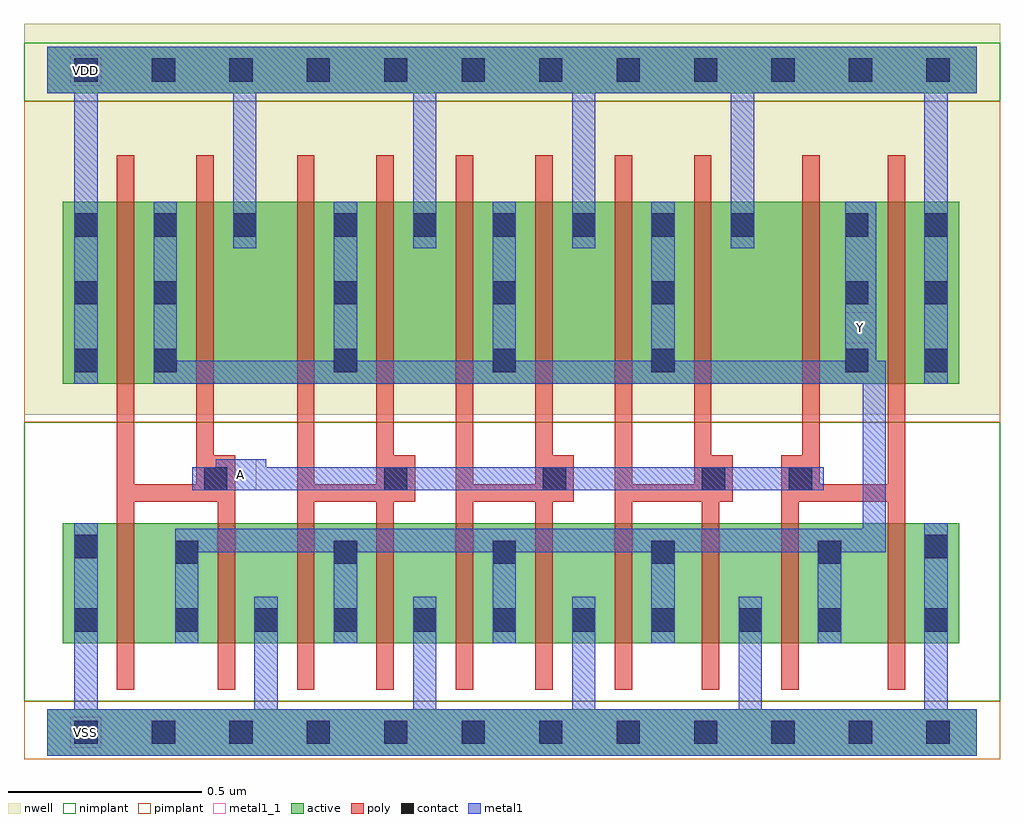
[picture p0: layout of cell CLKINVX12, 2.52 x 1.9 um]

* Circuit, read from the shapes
.subckt CLKINVX12 A VDD VSS Y
M1 Y A VSS VSS nfet w=0.31u l=0.045u m=10
M2 Y A VDD VDD pfet w=0.47u l=0.045u m=10
.ends

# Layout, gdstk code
import gdstk
lib = gdstk.Library(unit=1e-6, precision=5e-10)
def R(c, l, rs):  # rectangles x0, y0, x1, y1
    for r in rs: c.add(gdstk.rectangle(r[:2], r[2:], *l))
def A(c, l, x, y, w, h, nx, ny, dx, dy):  # array of equal rectangles
    R(c, l, [(x+i*dx, y+j*dy, x+i*dx+w, y+j*dy+h) for i in range(nx) for j in range(ny)])
def P(c, l, *ps):  # polygons
    for p in ps: c.add(gdstk.Polygon(p, *l))
active = (1, 0)
nwell = (2, 0)
poly = (3, 0)
nimplant = (4, 0)
pimplant = (5, 0)
contact = (6, 0)
metal1 = (7, 0)
metal1_1 = (7, 1)

clkinvx12 = lib.new_cell('CLKINVX12')
R(clkinvx12, active, [(0,-0.06,2.4,0.06), (0.04,0.23,2.355,0.54), (0.04,0.9,2.355,1.37), (0,1.65,2.4,1.77)])
R(clkinvx12, nwell, [(-0.06,0.82,2.46,1.83)])
P(clkinvx12, poly, [(0.18,1.49),(0.225,1.49),(0.225,0.64),(0.385,0.64),(0.385,1.49),(0.43,1.49),(0.43,0.715),(0.485,0.715),(0.485,0.11),(0.44,0.11),(0.44,0.595),(0.225,0.595),(0.225,0.11),(0.18,0.11)],
  [(0.645,1.49),(0.69,1.49),(0.69,0.64),(0.85,0.64),(0.85,1.49),(0.895,1.49),(0.895,0.715),(0.95,0.715),(0.95,0.595),(0.895,0.595),(0.895,0.11),(0.85,0.11),(0.85,0.595),(0.69,0.595),(0.69,0.11),(0.645,0.11)],
  [(1.055,1.49),(1.1,1.49),(1.1,0.64),(1.26,0.64),(1.26,1.49),(1.305,1.49),(1.305,0.715),(1.36,0.715),(1.36,0.595),(1.305,0.595),(1.305,0.11),(1.26,0.11),(1.26,0.595),(1.1,0.595),(1.1,0.11),(1.055,0.11)],
  [(1.465,1.49),(1.51,1.49),(1.51,0.64),(1.67,0.64),(1.67,1.49),(1.715,1.49),(1.715,0.715),(1.77,0.715),(1.77,0.595),(1.735,0.595),(1.735,0.11),(1.69,0.11),(1.69,0.595),(1.51,0.595),(1.51,0.11),(1.465,0.11)],
  [(1.95,1.49),(1.995,1.49),(1.995,0.64),(2.17,0.64),(2.17,1.49),(2.215,1.49),(2.215,0.11),(2.17,0.11),(2.17,0.595),(1.94,0.595),(1.94,0.11),(1.895,0.11),(1.895,0.715),(1.95,0.715)])
R(clkinvx12, nimplant, [(-0.06,0.08,2.46,0.8), (-0.06,1.63,2.46,1.78)])
R(clkinvx12, pimplant, [(-0.06,-0.07,2.46,0.08), (-0.06,0.8,2.46,1.63)])
A(clkinvx12, contact, 0.07, -0.03, 0.06, 0.06, 12, 2, 0.2, 1.71)
A(clkinvx12, contact, 0.33, 0.26, 0.06, 0.06, 7, 1, 0.205, 0)
A(clkinvx12, contact, 0.33, 0.435, 0.06, 0.06, 4, 1, 0.41, 0)
A(clkinvx12, contact, 0.87, 0.625, 0.06, 0.06, 3, 1, 0.41, 0)
A(clkinvx12, contact, 0.74, 0.93, 0.06, 0.06, 3, 2, 0.41, 0.175)
A(clkinvx12, contact, 2.06, 0.93, 0.06, 0.06, 1, 3, 0, 0.175)
A(clkinvx12, contact, 2.265, 0.93, 0.06, 0.06, 1, 3, 0, 0.175)
A(clkinvx12, contact, 0.07, 1.28, 0.06, 0.06, 3, 1, 0.205, 0)
A(clkinvx12, contact, 0.74, 1.28, 0.06, 0.06, 6, 1, 0.205, 0)
R(clkinvx12, contact, [(0.07,0.26,0.13,0.32), (1.785,0.26,1.845,0.32), (1.99,0.26,2.05,0.32), (2.265,0.26,2.325,0.32), (1.99,0.435,2.05,0.495), (0.07,0.45,0.13,0.51), (2.265,0.45,2.325,0.51), (0.405,0.625,0.465,0.685), (1.915,0.625,1.975,0.685), (0.07,0.93,0.13,0.99), (0.275,0.93,0.335,0.99), (0.07,1.105,0.13,1.165), (0.275,1.105,0.335,1.165)])
P(clkinvx12, metal1, [(0.435,0.705),(0.565,0.705),(0.565,0.685),(2.005,0.685),(2.005,0.625),(0.375,0.625),(0.375,0.685),(0.435,0.685)],
  [(0.07,0.54),(0.13,0.54),(0.13,0.06),(0.535,0.06),(0.535,0.35),(0.595,0.35),(0.595,0.06),(0.945,0.06),(0.945,0.35),(1.005,0.35),(1.005,0.06),(1.355,0.06),(1.355,0.35),(1.415,0.35),(1.415,0.06),(1.785,0.06),(1.785,0.35),(1.845,0.35),(1.845,0.06),(2.265,0.06),(2.265,0.54),(2.325,0.54),(2.325,0.06),(2.4,0.06),(2.4,-0.06),(0,-0.06),(0,0.06),(0.07,0.06)],
  [(0,1.77),(2.4,1.77),(2.4,1.65),(2.325,1.65),(2.325,0.9),(2.265,0.9),(2.265,1.65),(1.825,1.65),(1.825,1.25),(1.765,1.25),(1.765,1.65),(1.415,1.65),(1.415,1.25),(1.355,1.25),(1.355,1.65),(1.005,1.65),(1.005,1.25),(0.945,1.25),(0.945,1.65),(0.54,1.65),(0.54,1.25),(0.48,1.25),(0.48,1.65),(0.13,1.65),(0.13,0.9),(0.07,0.9),(0.07,1.65),(0,1.65)],
  [(0.275,1.37),(0.335,1.37),(0.335,0.96),(0.74,0.96),(0.74,1.37),(0.8,1.37),(0.8,0.96),(1.15,0.96),(1.15,1.37),(1.21,1.37),(1.21,0.96),(1.56,0.96),(1.56,1.37),(1.62,1.37),(1.62,0.96),(2.06,0.96),(2.06,1.37),(2.14,1.37),(2.14,0.96),(2.165,0.96),(2.165,0.465),(2.05,0.465),(2.05,0.23),(1.99,0.23),(1.99,0.465),(1.62,0.465),(1.62,0.23),(1.56,0.23),(1.56,0.465),(1.21,0.465),(1.21,0.23),(1.15,0.23),(1.15,0.465),(0.8,0.465),(0.8,0.23),(0.74,0.23),(0.74,0.465),(0.39,0.465),(0.39,0.23),(0.33,0.23),(0.33,0.525),(2.105,0.525),(2.105,0.9),(0.275,0.9)])
R(clkinvx12, metal1_1, [(0.06,-0.04,0.14,0.04), (0.46,0.625,0.54,0.705), (2.06,1.005,2.14,1.085), (0.06,1.67,0.14,1.75)])
clkinvx12.add(gdstk.Label('Y', (2.1,1.045), layer=7, texttype=1))
clkinvx12.add(gdstk.Label('A', (0.5,0.665), layer=7, texttype=1))
clkinvx12.add(gdstk.Label('VDD', (0.1,1.71), layer=7, texttype=1))
clkinvx12.add(gdstk.Label('VSS', (0.1,0), layer=7, texttype=1))
clkinvx12.add(gdstk.Label('CLKINVX12', (0,0), layer=63, texttype=0))

lib.write_gds('CLKINVX12.gds')
